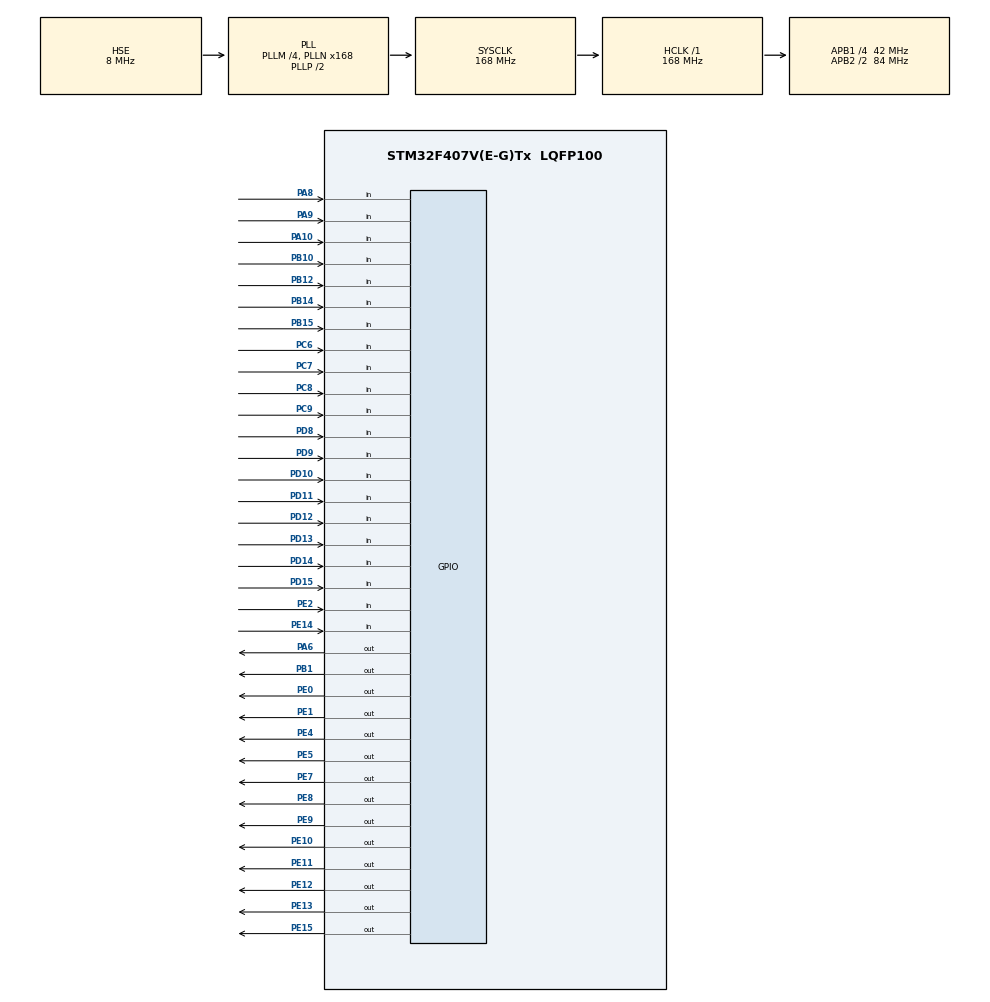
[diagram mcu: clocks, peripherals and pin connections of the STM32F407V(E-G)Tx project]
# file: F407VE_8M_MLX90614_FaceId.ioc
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PE12.GPIO_ModeDefaultOutputPP=GPIO_MODE_OUTPUT_PP
Mcu.Family=STM32F4
PE7.GPIO_PuPd=GPIO_PULLDOWN
PE8.PinState=GPIO_PIN_SET
PH0-OSC_IN.Signal=RCC_OSC_IN
PB15.GPIO_Mode=GPIO_MODE_INPUT
PD15.GPIO_Mode=GPIO_MODE_INPUT
PE4.GPIO_ModeDefaultOutputPP=GPIO_MODE_OUTPUT_PP
RCC.CortexFreq_Value=168000000
PB10.GPIO_PuPd=GPIO_PULLDOWN
PA8.GPIO_Mode=GPIO_MODE_INPUT
PA10.GPIO_PuPd=GPIO_PULLDOWN
PE8.GPIO_PuPd=GPIO_PULLUP
PE1.PinState=GPIO_PIN_SET
PE11.PinState=GPIO_PIN_SET
PE9.GPIO_Speed=GPIO_SPEED_FREQ_VERY_HIGH
PE10.GPIO_PuPd=GPIO_PULLUP
PD10.GPIO_PuPd=GPIO_PULLDOWN
PD8.GPIO_PuPd=GPIO_PULLDOWN
PB15.Signal=GPIO_Input
RCC.SYSCLKSource=RCC_SYSCLKSOURCE_PLLCLK
ProjectManager.StackSize=0x400
PD13.Signal=GPIO_Input
PD11.GPIO_PuPd=GPIO_PULLDOWN
PE5.GPIO_PuPd=GPIO_PULLUP
PD13.GPIO_Mode=GPIO_MODE_INPUT
PE11.GPIO_PuPd=GPIO_PULLDOWN
PB1.GPIO_PuPd=GPIO_PULLUP
RCC.HCLKFreq_Value=168000000
RCC.APB2TimFreq_Value=168000000
PC7.Signal=GPIO_Input
PD8.Signal=GPIO_Input
PE5.Signal=GPIO_Output
PE1.Signal=GPIO_Output
RCC.AHBFreq_Value=168000000
PH0-OSC_IN.Mode=HSE-External-Oscillator
PA9.GPIO_Mode=GPIO_MODE_INPUT
RCC.HSE_VALUE=8000000
PE13.PinState=GPIO_PIN_SET
PE13.GPIO_PuPd=GPIO_PULLDOWN
PA6.GPIO_PuPd=GPIO_PULLUP
PE13.Signal=GPIO_Output
PC14-OSC32_IN.Mode=LSE-External-Oscillator
PB1.GPIO_Speed=GPIO_SPEED_FREQ_VERY_HIGH
PE9.Signal=GPIO_Output
PA14.Mode=Serial_Wire
PE4.GPIO_Speed=GPIO_SPEED_FREQ_VERY_HIGH
PD11.GPIO_Mode=GPIO_MODE_INPUT
PE5.PinState=GPIO_PIN_SET
PC7.GPIO_Mode=GPIO_MODE_INPUT
PE10.GPIO_ModeDefaultOutputPP=GPIO_MODE_OUTPUT_PP
PE2.Signal=GPIO_Input
PD14.GPIO_PuPd=GPIO_PULLDOWN
PA8.Signal=GPIO_Input
PE10.GPIO_Speed=GPIO_SPEED_FREQ_VERY_HIGH
PE4.Signal=GPIO_Output
PE10.Signal=GPIO_Output
PD12.GPIO_Mode=GPIO_MODE_INPUT
PB1.PinState=GPIO_PIN_SET
PH1-OSC_OUT.Mode=HSE-External-Oscillator
PB12.GPIO_Mode=GPIO_MODE_INPUT
Mcu.Package=LQFP100
PB14.GPIO_PuPd=GPIO_PULLDOWN
PB1.Signal=GPIO_Output
PA6.Signal=GPIO_Output
PB15.GPIO_PuPd=GPIO_PULLDOWN
PD12.Signal=GPIO_Input
PD15.GPIO_PuPd=GPIO_PULLDOWN
PA10.Signal=GPIO_Input
PC6.GPIO_PuPd=GPIO_PULLDOWN
PE12.GPIO_Speed=GPIO_SPEED_FREQ_VERY_HIGH
PE8.GPIO_Speed=GPIO_SPEED_FREQ_VERY_HIGH
RCC.APB2CLKDivider=RCC_HCLK_DIV2
RCC.APB1TimFreq_Value=84000000
PE8.GPIO_ModeDefaultOutputPP=GPIO_MODE_OUTPUT_PP
PE14.GPIO_Mode=GPIO_MODE_INPUT
PE7.Signal=GPIO_Output
PA6.GPIO_Speed=GPIO_SPEED_FREQ_VERY_HIGH
PD9.GPIO_PuPd=GPIO_PULLDOWN
PE9.PinState=GPIO_PIN_SET
PD15.Signal=GPIO_Input
PE12.GPIO_PuPd=GPIO_PULLUP
PC8.GPIO_Mode=GPIO_MODE_INPUT
PD8.GPIO_Mode=GPIO_MODE_INPUT
PE0.GPIO_PuPd=GPIO_PULLUP
PE10.PinState=GPIO_PIN_SET
RCC.PLLSourceVirtual=RCC_PLLSOURCE_HSE
PC15-OSC32_OUT.Mode=LSE-External-Oscillator
PE0.GPIO_ModeDefaultOutputPP=GPIO_MODE_OUTPUT_PP
PE11.GPIO_Speed=GPIO_SPEED_FREQ_VERY_HIGH
PD9.GPIO_Mode=GPIO_MODE_INPUT
PC8.Signal=GPIO_Input
PC6.Signal=GPIO_Input
PE7.PinState=GPIO_PIN_SET
PE1.GPIO_PuPd=GPIO_PULLUP
PD9.Signal=GPIO_Input
RCC.APB1CLKDivider=RCC_HCLK_DIV4
PC14-OSC32_IN.Signal=RCC_OSC32_IN
PA9.GPIO_PuPd=GPIO_PULLDOWN
PA10.GPIO_Mode=GPIO_MODE_INPUT
PE0.GPIO_Speed=GPIO_SPEED_FREQ_VERY_HIGH
PD10.Signal=GPIO_Input
PD10.GPIO_Mode=GPIO_MODE_INPUT
PA13.Signal=SYS_JTMS-SWDIO
PE0.PinState=GPIO_PIN_SET
PB10.GPIO_Mode=GPIO_MODE_INPUT
ProjectManager.TargetToolchain=MDK-ARM V5.27
PC9.GPIO_Mode=GPIO_MODE_INPUT
PA9.Signal=GPIO_Input
PC7.GPIO_PuPd=GPIO_PULLDOWN
PE11.Signal=GPIO_Output
PC15-OSC32_OUT.Signal=RCC_OSC32_OUT
PB10.Signal=GPIO_Input
PB14.Signal=GPIO_Input
PE2.GPIO_PuPd=GPIO_PULLUP
board=custom
RCC.VCOOutputFreq_Value=336000000
PE7.GPIO_Speed=GPIO_SPEED_FREQ_VERY_HIGH
RCC.APB2Freq_Value=84000000
PE14.Signal=GPIO_Input
PE15.Signal=GPIO_Output
PE8.Signal=GPIO_Output
PE1.GPIO_Speed=GPIO_SPEED_FREQ_VERY_HIGH
PC9.GPIO_PuPd=GPIO_PULLDOWN
PH1-OSC_OUT.Signal=RCC_OSC_OUT
PD13.GPIO_PuPd=GPIO_PULLDOWN
PE14.GPIO_PuPd=GPIO_PULLDOWN
PC6.GPIO_Mode=GPIO_MODE_INPUT
PA13.Mode=Serial_Wire
Mcu.Name=STM32F407V(E-G)Tx
PE0.Signal=GPIO_Output
PE12.Signal=GPIO_Output
PE4.GPIO_PuPd=GPIO_PULLUP
PE12.PinState=GPIO_PIN_SET
PD14.Signal=GPIO_Input
RCC.48MHZClocksFreq_Value=84000000
PC8.GPIO_PuPd=GPIO_PULLDOWN
RCC.SYSCLKFreq_VALUE=168000000
PE11.GPIO_ModeDefaultOutputPP=GPIO_MODE_OUTPUT_PP
PE13.GPIO_ModeDefaultOutputPP=GPIO_MODE_OUTPUT_PP
PD11.Signal=GPIO_Input
PA14.Signal=SYS_JTCK-SWCLK
PE15.GPIO_PuPd=GPIO_PULLDOWN
ProjectManager.HeapSize=0x200
PE5.GPIO_ModeDefaultOutputPP=GPIO_MODE_OUTPUT_PP
RCC.HSI_VALUE=16000000
PA8.GPIO_PuPd=GPIO_PULLDOWN
NVIC.PriorityGroup=NVIC_PRIORITYGROUP_4
PE15.GPIO_Speed=GPIO_SPEED_FREQ_VERY_HIGH
RCC.PLLM=4
RCC.PLLN=168
PE13.GPIO_Speed=GPIO_SPEED_FREQ_VERY_HIGH
PE5.GPIO_Speed=GPIO_SPEED_FREQ_VERY_HIGH
PE4.PinState=GPIO_PIN_SET
PE7.GPIO_ModeDefaultOutputPP=GPIO_MODE_OUTPUT_PP
PE9.GPIO_ModeDefaultOutputPP=GPIO_MODE_OUTPUT_PP
PC9.Signal=GPIO_Input
PB1.GPIO_ModeDefaultOutputPP=GPIO_MODE_OUTPUT_PP
PB12.GPIO_PuPd=GPIO_PULLDOWN
PD14.GPIO_Mode=GPIO_MODE_INPUT
RCC.APB1Freq_Value=42000000
PB14.GPIO_Mode=GPIO_MODE_INPUT
PE15.PinState=GPIO_PIN_SET
PE15.GPIO_ModeDefaultOutputPP=GPIO_MODE_OUTPUT_PP
PB12.Signal=GPIO_Input
PD12.GPIO_PuPd=GPIO_PULLDOWN
PE9.GPIO_PuPd=GPIO_PULLDOWN

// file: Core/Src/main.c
/* USER CODE BEGIN Header */
/**
  ******************************************************************************
  * @file           : main.c
  * @brief          : Main program body
  ******************************************************************************
  * @attention
  *
  * <h2><center>&copy; Copyright (c) 2020 STMicroelectronics.
  * All rights reserved.</center></h2>
  *
  * This software component is licensed by ST under BSD 3-Clause license,
  * the "License"; You may not use this file except in compliance with the
  * License. You may obtain a copy of the License at:
  *                        opensource.org/licenses/BSD-3-Clause
  *
  ******************************************************************************
  */
/* USER CODE END Header */
#include "main.h"
#include "gpio.h"

/* USER CODE BEGIN Includes */
#include "DELAY/delay.h"
#include "OLED/oled_iic.h"
#include "GRIDKEY/gridkey.h"
/* USER CODE END Includes */

void SystemClock_Config(void);

int main(void)
{
  /* USER CODE BEGIN 1 */
    uint16_t pinList[16]={GPIO_PIN_9, GPIO_PIN_9, GPIO_PIN_7, GPIO_PIN_15, GPIO_PIN_13, GPIO_PIN_11, GPIO_PIN_9, GPIO_PIN_15, GPIO_PIN_10, GPIO_PIN_8, GPIO_PIN_8, GPIO_PIN_6, GPIO_PIN_14, GPIO_PIN_12, GPIO_PIN_10, GPIO_PIN_8};
    GPIO_TypeDef* grpList[16]={GPIOA, GPIOC, GPIOC, GPIOD, GPIOD, GPIOD, GPIOD, GPIOB, GPIOA, GPIOA, GPIOC, GPIOC, GPIOD, GPIOD, GPIOD, GPIOD};

  /* USER CODE END 1 */

  /* MCU Configuration--------------------------------------------------------*/

  /* Reset of all peripherals, Initializes the Flash interface and the Systick. */
  HAL_Init();

  /* Configure the system clock */
  SystemClock_Config();

  /* Initialize all configured peripherals */
  MX_GPIO_Init();
  /* USER CODE BEGIN 2 */
    Delay_Init(168);
    HAL_GPIO_WritePin(GPIOE,GPIO_PIN_7,GPIO_PIN_RESET);
    HAL_GPIO_WritePin(GPIOE,GPIO_PIN_9,GPIO_PIN_RESET);
    HAL_GPIO_WritePin(GPIOE,GPIO_PIN_11,GPIO_PIN_RESET);
    HAL_GPIO_WritePin(GPIOE,GPIO_PIN_13,GPIO_PIN_RESET);
    HAL_GPIO_WritePin(GPIOE,GPIO_PIN_15,GPIO_PIN_RESET);
    uint8_t pinAState=0,thState=0,deltaState=0;
    uint8_t isEditingDelta=0;
    float threshold=37;
    float delta=1.5;
    OLED_Init();
    OLED_ShowStr(0,0,"Temperature:",TEXTSIZE_SMALL,REVERSE_OFF);
    OLED_ShowStr(0,2,"Threshold:",TEXTSIZE_SMALL,REVERSE_OFF);
    OLED_ShowFloat(0,3,threshold,TEXTSIZE_SMALL,REVERSE_OFF);
  /* USER CODE END 2 */

  /* Infinite loop */
  while (1)
  {

    /* USER CODE BEGIN 3 */
      uint8_t key=GridKey_ScanRaw(0);

      if(key!=255 && key!=3 && key!=7 && key!=11 && key!=15)
      //if(key!=255)
      {
          HAL_GPIO_WritePin(GPIOE,GPIO_PIN_9,((key>>0)&1u));
          HAL_GPIO_WritePin(GPIOE,GPIO_PIN_11,((key>>1)&1u));
          HAL_GPIO_WritePin(GPIOE,GPIO_PIN_13,((key>>2)&1u));
          HAL_GPIO_WritePin(GPIOE,GPIO_PIN_15,((key>>3)&1u));
          HAL_GPIO_WritePin(GPIOE,GPIO_PIN_7,GPIO_PIN_SET);
      }
      else
          HAL_GPIO_WritePin(GPIOE,GPIO_PIN_7,GPIO_PIN_RESET);
      if(key==3 && pinAState==0)
      {
          HAL_GPIO_TogglePin(GPIOE,GPIO_PIN_0);
          pinAState=1;
      }
      else if(key!=3)
      {
          pinAState=0;
      }

      HAL_GPIO_WritePin(GPIOA,GPIO_PIN_6,HAL_GPIO_ReadPin(GPIOE,GPIO_PIN_2));

      uint16_t rawTemp=0;
      for(int i=0;i<16;i++)
      {
          rawTemp|=(HAL_GPIO_ReadPin(grpList[i],pinList[i])<<i);
      }
      float Temp=(float)rawTemp*0.02-273.15;
      Temp+=delta;
      if(Temp>=35&&Temp<=40)
          Temp+=0.5;
      else if(Temp>40)
          Temp+=1;
      OLED_ShowFloat(0,1,Temp,TEXTSIZE_SMALL,REVERSE_OFF);

      if((key==7 || key==11) && thState==0)
      {
          if(isEditingDelta)
          {
              if(key==7 && delta<4)
                  delta+=0.25;
              else if(key==11 && delta>-2)
                  delta-=0.25;
              thState=1;
              OLED_ShowFloat(0,5,delta,TEXTSIZE_SMALL,REVERSE_OFF);
              Delay_ms(20);
              OLED_ShowStr(0,5,"        ",TEXTSIZE_SMALL,REVERSE_OFF);
          }
          else
          {
              if(key==7 && threshold<47)
                  threshold+=0.5;
              else if(key==11 && threshold>29)
                  threshold-=0.5;
              thState=1;
              OLED_ShowFloat(0,3,threshold,TEXTSIZE_SMALL,REVERSE_OFF);
          }
      }
      else if(key!=7 && key!=11)
      {
          thState=0;
      }

      if(key==15 && deltaState==0)
      {
          isEditingDelta=!isEditingDelta;
          deltaState=1;
      }
      else if(key!=15)
      {
          deltaState=0;
      }

      HAL_GPIO_WritePin(GPIOE,GPIO_PIN_1,!(Temp>threshold));
  }
  /* USER CODE END 3 */
}

void SystemClock_Config(void)
{
  RCC_OscInitTypeDef RCC_OscInitStruct = {0};
  RCC_ClkInitTypeDef RCC_ClkInitStruct = {0};

  /** Configure the main internal regulator output voltage
  */
  __HAL_RCC_PWR_CLK_ENABLE();
  __HAL_PWR_VOLTAGESCALING_CONFIG(PWR_REGULATOR_VOLTAGE_SCALE1);
  /** Initializes the RCC Oscillators according to the specified parameters
  * in the RCC_OscInitTypeDef structure.
  */
  RCC_OscInitStruct.OscillatorType = RCC_OSCILLATORTYPE_HSE;
  RCC_OscInitStruct.HSEState = RCC_HSE_ON;
  RCC_OscInitStruct.PLL.PLLState = RCC_PLL_ON;
  RCC_OscInitStruct.PLL.PLLSource = RCC_PLLSOURCE_HSE;
  RCC_OscInitStruct.PLL.PLLM = 4;
  RCC_OscInitStruct.PLL.PLLN = 168;
  RCC_OscInitStruct.PLL.PLLP = RCC_PLLP_DIV2;
  RCC_OscInitStruct.PLL.PLLQ = 4;
  if (HAL_RCC_OscConfig(&RCC_OscInitStruct) != HAL_OK)
  {
    Error_Handler();
  }
  /** Initializes the CPU, AHB and APB buses clocks
  */
  RCC_ClkInitStruct.ClockType = RCC_CLOCKTYPE_HCLK|RCC_CLOCKTYPE_SYSCLK
                              |RCC_CLOCKTYPE_PCLK1|RCC_CLOCKTYPE_PCLK2;
  RCC_ClkInitStruct.SYSCLKSource = RCC_SYSCLKSOURCE_PLLCLK;
  RCC_ClkInitStruct.AHBCLKDivider = RCC_SYSCLK_DIV1;
  RCC_ClkInitStruct.APB1CLKDivider = RCC_HCLK_DIV4;
  RCC_ClkInitStruct.APB2CLKDivider = RCC_HCLK_DIV2;

  if (HAL_RCC_ClockConfig(&RCC_ClkInitStruct, FLASH_LATENCY_5) != HAL_OK)
  {
    Error_Handler();
  }
}

void Error_Handler(void)
{
}

/************************ (C) COPYRIGHT STMicroelectronics *****END OF FILE****/
